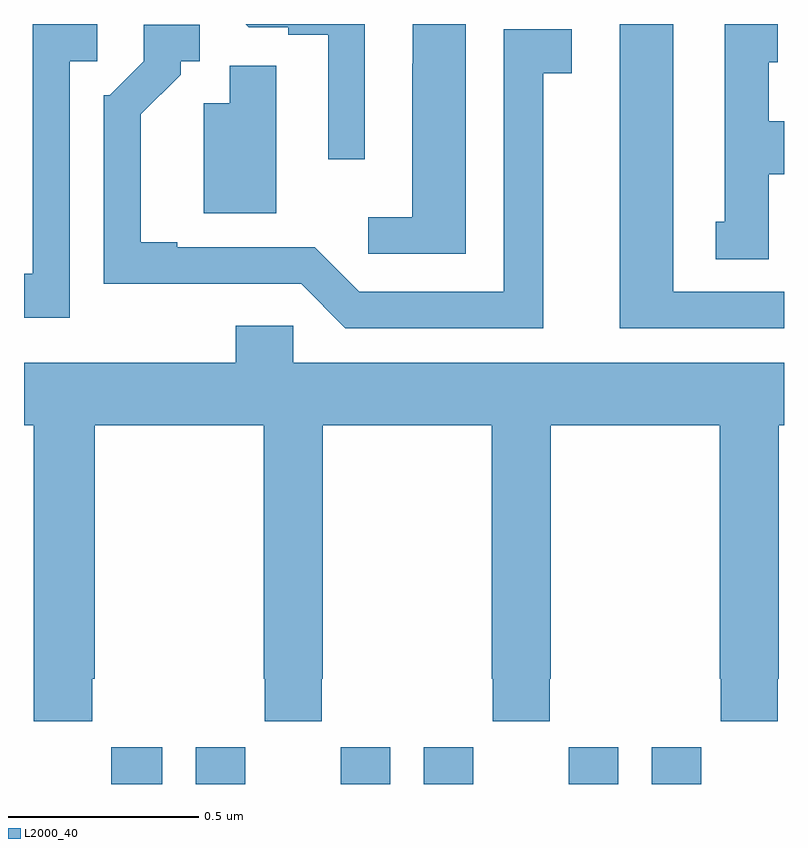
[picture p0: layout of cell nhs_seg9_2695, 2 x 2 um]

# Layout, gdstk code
import gdstk
lib = gdstk.Library(unit=1e-6, precision=1e-09)
def R(c, l, rs):  # rectangles x0, y0, x1, y1
    for r in rs: c.add(gdstk.rectangle(r[:2], r[2:], *l))
def P(c, l, *ps):  # polygons
    for p in ps: c.add(gdstk.Polygon(p, *l))
L2000_40 = (2000, 40)

nhs_seg9_2695 = lib.new_cell('nhs_seg9_2695')
R(nhs_seg9_2695, L2000_40, [(144.23,1171.5,144.364,1171.597), (144.452,1171.5,144.582,1171.597), (144.834,1171.5,144.964,1171.597), (145.052,1171.5,145.182,1171.597), (145.434,1171.5,145.564,1171.597), (145.652,1171.5,145.782,1171.597)])
P(nhs_seg9_2695, L2000_40, [(146,1172.796),(145.708,1172.796),(145.708,1173.5),(145.568,1173.5),(145.568,1172.7),(146,1172.7)],
  [(145.162,1173.5),(145.023,1173.5),(145.023,1173.395),(145.022,1173.395),(145.022,1172.992),(144.906,1172.992),(144.906,1172.895),(145.162,1172.895)],
  [(144.12,1173.402),(144.193,1173.402),(144.193,1173.5),(144.023,1173.5),(144.023,1172.843),(144,1172.843),(144,1172.727),(144.12,1172.727)],
  [(144.897,1173.5),(144.583,1173.5),(144.591,1173.492),(144.696,1173.492),(144.696,1173.472),(144.8,1173.472),(144.8,1173.144),(144.897,1173.144)],
  [(145.96,1173.104),(146,1173.104),(146,1173.244),(145.96,1173.244),(145.96,1173.399),(145.984,1173.399),(145.984,1173.5),(145.844,1173.5),(145.844,1172.979),(145.82,1172.979),(145.82,1172.881),(145.96,1172.881)],
  [(145.366,1173.37),(145.441,1173.37),(145.441,1173.486),(145.262,1173.486),(145.262,1172.796),(144.882,1172.796),(144.765,1172.913),(144.403,1172.913),(144.403,1172.926),(144.307,1172.926),(144.307,1173.262),(144.412,1173.367),(144.412,1173.402),(144.462,1173.402),(144.462,1173.498),(144.315,1173.498),(144.315,1173.402),(144.225,1173.312),(144.21,1173.312),(144.21,1172.816),(144.473,1172.816),(144.473,1172.817),(144.729,1172.817),(144.846,1172.7),(145.366,1172.7)],
  [(144.664,1173.39),(144.542,1173.39),(144.542,1173.292),(144.473,1173.292),(144.473,1173.002),(144.664,1173.002)],
  [(144.179,1171.777),(144.186,1171.777),(144.186,1172.444),(144.631,1172.444),(144.631,1171.777),(144.633,1171.777),(144.633,1171.665),(144.783,1171.665),(144.783,1171.777),(144.786,1171.777),(144.786,1172.444),(145.231,1172.444),(145.231,1171.777),(145.233,1171.777),(145.233,1171.665),(145.383,1171.665),(145.383,1171.777),(145.386,1171.777),(145.386,1172.444),(145.831,1172.444),(145.831,1171.777),(145.833,1171.777),(145.833,1171.665),(145.983,1171.665),(145.983,1171.777),(145.986,1171.777),(145.986,1172.444),(146,1172.444),(146,1172.608),(144.708,1172.608),(144.708,1172.706),(144.557,1172.706),(144.557,1172.608),(144,1172.608),(144,1172.444),(144.026,1172.444),(144.026,1171.665),(144.179,1171.665)])

lib.write_gds('nhs_seg9_2695.gds')
